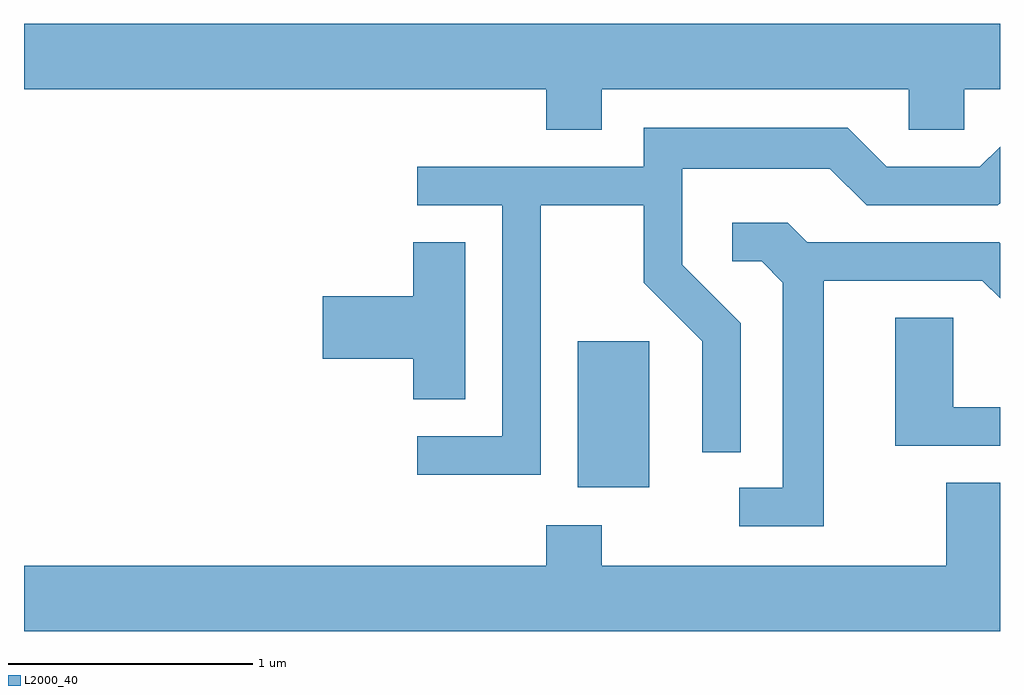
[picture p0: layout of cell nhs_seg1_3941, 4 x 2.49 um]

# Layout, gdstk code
import gdstk
lib = gdstk.Library(unit=1e-6, precision=1e-09)
def R(c, l, rs):  # rectangles x0, y0, x1, y1
    for r in rs: c.add(gdstk.rectangle(r[:2], r[2:], *l))
def P(c, l, *ps):  # polygons
    for p in ps: c.add(gdstk.Polygon(p, *l))
L2000_40 = (2000, 40)

nhs_seg1_3941 = lib.new_cell('nhs_seg1_3941')
R(nhs_seg1_3941, L2000_40, [(305.881,909.046,306.174,909.644)])
P(nhs_seg1_3941, L2000_40, [(305.979,910.676),(307.236,910.676),(307.236,910.511),(307.464,910.511),(307.464,910.676),(307.611,910.676),(307.611,910.944),(303.611,910.944),(303.611,910.676),(305.751,910.676),(305.751,910.511),(305.979,910.511)],
  [(305.729,910.201),(306.151,910.201),(306.151,909.884),(306.391,909.644),(306.391,909.188),(306.549,909.188),(306.549,909.717),(306.309,909.957),(306.309,910.351),(306.914,910.351),(307.064,910.201),(307.602,910.201),(307.611,910.21),(307.611,910.441),(307.529,910.359),(307.147,910.359),(306.987,910.519),(306.151,910.519),(306.151,910.359),(305.223,910.359),(305.223,910.201),(305.571,910.201),(305.571,909.254),(305.223,909.254),(305.223,909.096),(305.729,909.096)],
  [(306.889,909.891),(307.539,909.891),(307.611,909.819),(307.611,910.045),(307.607,910.049),(306.822,910.049),(306.742,910.129),(306.513,910.129),(306.513,909.971),(306.634,909.971),(306.721,909.884),(306.721,909.044),(306.543,909.044),(306.543,908.886),(306.889,908.886)],
  [(305.419,910.049),(305.206,910.049),(305.206,909.829),(304.836,909.829),(304.836,909.571),(305.206,909.571),(305.206,909.406),(305.419,909.406)],
  [(307.611,909.374),(307.419,909.374),(307.419,909.739),(307.181,909.739),(307.181,909.216),(307.611,909.216)],
  [(307.611,909.064),(307.391,909.064),(307.391,908.724),(305.979,908.724),(305.979,908.889),(305.751,908.889),(305.751,908.724),(303.611,908.724),(303.611,908.456),(307.611,908.456)])

lib.write_gds('nhs_seg1_3941.gds')
